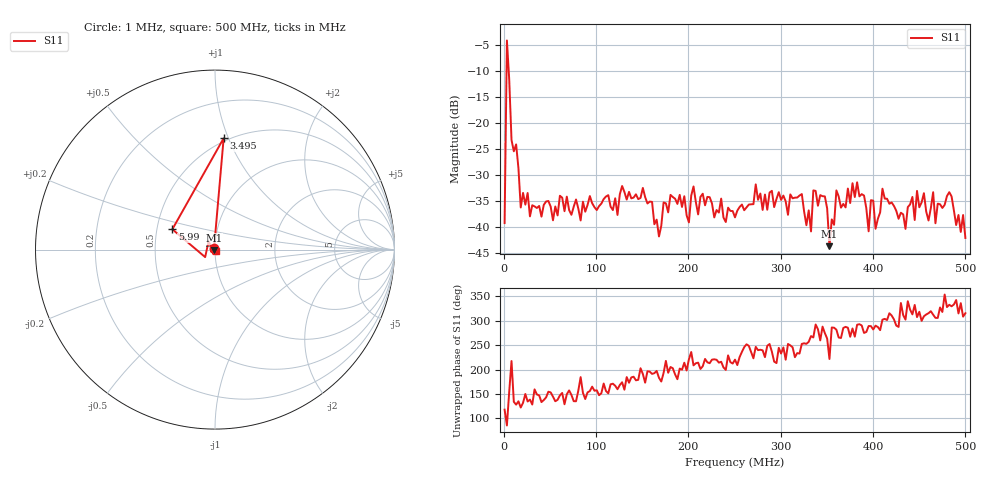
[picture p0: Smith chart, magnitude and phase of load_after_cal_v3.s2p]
! PocketVna 1.54  pocketvna.com
! Live measurements ((Reflection-S11) Linear 1000000-500000000/201 calibrated)
# MHz S DB R 50
! MHz  dBS11  <S11  dBS21  <S21  dBS12  <S12  dBS22  <S22
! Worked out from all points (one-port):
!   201 points, 1 MHz to 500 MHz, reference 50 ohm
!   lowest |S11| = -43.6 dB at 352.8 MHz (marker M1), VSWR 1.01, Z = 49.5 - j0.434 ohm
!   |S11| at or under -10 dB: start of sweep to 3.076 MHz; 5.458 MHz to end of sweep
!   S11 on the Smith chart (normalised r, x): 1 MHz: 0.99, +0.02; 3.495 MHz: 0.47, +0.96; 5.99 MHz: 0.60, +0.15; 500 MHz: 1.01, -0.01
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1  -39.16 117.9  -200.00 0.0  -200.00 0.0  -200.00 0.0
3.495  -4.12 85.6  -200.00 0.0  -200.00 0.0  -200.00 0.0
5.99  -11.59 154.6  -200.00 0.0  -200.00 0.0  -200.00 0.0
8.485  -23.23 -142.7  -200.00 0.0  -200.00 0.0  -200.00 0.0
18.465  -36.17 122.3  -200.00 0.0  -200.00 0.0  -200.00 0.0
85.83  -35.06 152.3  -200.00 0.0  -200.00 0.0  -200.00 0.0
150.7  -32.42 -169.1  -200.00 0.0  -200.00 0.0  -200.00 0.0
168.165  -41.73 -176.9  -200.00 0.0  -200.00 0.0  -200.00 0.0
205.59  -32.14 -151.5  -200.00 0.0  -200.00 0.0  -200.00 0.0
250.5  -38.06 -139.8  -200.00 0.0  -200.00 0.0  -200.00 0.0
272.955  -31.73 -113.7  -200.00 0.0  -200.00 0.0  -200.00 0.0
322.855  -33.59 -107.6  -200.00 0.0  -200.00 0.0  -200.00 0.0
332.835  -40.76 -91.7  -200.00 0.0  -200.00 0.0  -200.00 0.0
335.33  -32.89 -94.4  -200.00 0.0  -200.00 0.0  -200.00 0.0
347.805  -34.04 -85.5  -200.00 0.0  -200.00 0.0  -200.00 0.0
352.795  -43.59 -138.5  -200.00 0.0  -200.00 0.0  -200.00 0.0
360.28  -32.89 -78.5  -200.00 0.0  -200.00 0.0  -200.00 0.0
382.735  -31.34 -68.5  -200.00 0.0  -200.00 0.0  -200.00 0.0
395.21  -40.74 -71.1  -200.00 0.0  -200.00 0.0  -200.00 0.0
417.665  -35.45 -45.0  -200.00 0.0  -200.00 0.0  -200.00 0.0
482.535  -33.24 -27.6  -200.00 0.0  -200.00 0.0  -200.00 0.0
500  -42.02 -44.8  -200.00 0.0  -200.00 0.0  -200.00 0.0
